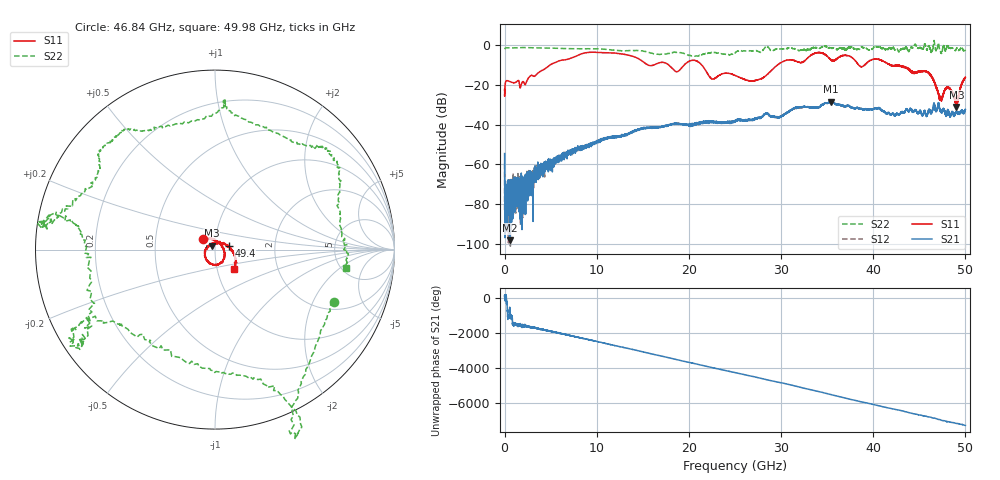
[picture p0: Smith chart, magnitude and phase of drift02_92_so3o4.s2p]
!Created with skrf (http://scikit-rf.org).
# Hz S RI R 50.0
!freq ReS11 ImS11 ReS21 ImS21 ReS12 ImS12 ReS22 ImS22
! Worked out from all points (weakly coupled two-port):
!   10001 points, 300 kHz to 50 GHz, reference 50 ohm
!   highest |S21| = -28.48 dB at 35.38 GHz (marker M1); lowest = -98.1 dB at 550.3 MHz (marker M2)
!   lowest |S11| = -31.1 dB at 49.02 GHz (marker M3), VSWR 1.06, Z = 48.2 + j2.08 ohm
!   |S11| at or under -10 dB: start of sweep to 4.957 GHz; 21.38 GHz to 29.62 GHz (8.242 GHz wide, 32.3 % of centre); 41.83 GHz to end of sweep (the widest 3 of 8)
!   |S22| runs from -5.7 to 2.3 dB; largest |S21 - S12| = 0.0036
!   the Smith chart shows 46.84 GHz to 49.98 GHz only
!   S11 on the Smith chart (normalised r, x): 46.84 GHz: 0.87, +0.10; 49.4 GHz: 1.16, +0.05; 49.98 GHz: 1.20, -0.27
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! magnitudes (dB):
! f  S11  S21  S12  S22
! 300 kHz  -22.3  -54.5  -59.6  -2.1
! 255.3 MHz  -17.9  -84.8  -75.4  -1.4
! 550.3 MHz  -18.4  -98.1  -81.4  -1.5
! 1.875 GHz  -19.0  -77.5  -70.7  -1.3
! 8.335 GHz  -4.5  -52.9  -52.0  -1.9
! 16.67 GHz  -9.1  -41.5  -41.4  -4.7
! 18.7 GHz  -13.4  -39.6  -39.4  -3.7
! 20.6 GHz  -7.7  -40.3  -39.7  -5.7
! 22.51 GHz  -17.1  -38.3  -38.9  -3.7
! 25 GHz  -15.2  -38.1  -38.1  -3.9
! 27.45 GHz  -17.6  -36.4  -36.7  -3.1
! 33.34 GHz  -4.9  -31.3  -31.2  -1.6
! 35.38 GHz  -7.3  -28.5  -28.6  -1.3
! 41.67 GHz  -9.6  -34.2  -34.2  -2.0
! 45.83 GHz  -13.3  -35.5  -35.3  -2.4
! 46.84 GHz  -21.3  -33.3  -33.5  -2.8
! 47.3 GHz  -27.7  -33.3  -33.1  -3.4
! 48.11 GHz  -21.5  -33.4  -33.4  -0.6
! 49.02 GHz  -31.1  -33.6  -34.1  -1.8
! 49.4 GHz  -22.0  -34.5  -34.3  -2.5
! 49.98 GHz  -16.4  -33.1  -32.9  -2.6
! 50 GHz  -16.3  -32.4  -33.0  -2.6
